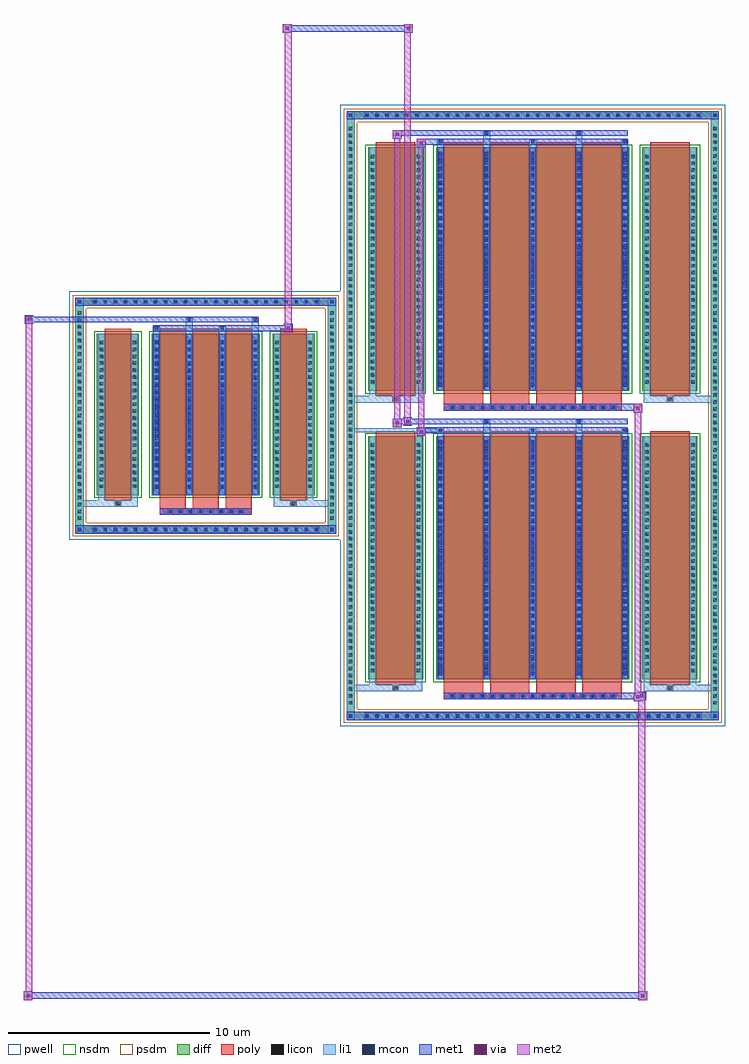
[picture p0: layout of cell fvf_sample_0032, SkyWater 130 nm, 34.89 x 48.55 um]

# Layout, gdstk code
import gdstk
lib = gdstk.Library(unit=1e-6, precision=1e-09)
def R(c, l, rs):  # rectangles x0, y0, x1, y1
    for r in rs: c.add(gdstk.rectangle(r[:2], r[2:], *l))
def A(c, l, x, y, w, h, nx, ny, dx, dy):  # array of equal rectangles
    R(c, l, [(x+i*dx, y+j*dy, x+i*dx+w, y+j*dy+h) for i in range(nx) for j in range(ny)])
def P(c, l, *ps):  # polygons
    for p in ps: c.add(gdstk.Polygon(p, *l))
pwell = (64, 44)
diff = (65, 20)
poly = (66, 20)
licon = (66, 44)
li1 = (67, 20)
mcon = (67, 44)
met1 = (68, 20)
via = (68, 44)
met2 = (69, 20)
nsdm = (93, 44)
psdm = (94, 20)

fvf_sample_0032 = lib.new_cell('fvf_sample_0032')
R(fvf_sample_0032, pwell, [(6.695,-15.456,25.837,15.456), (-6.795,-6.18,6.795,6.18)])
A(fvf_sample_0032, diff, 7.811, -15.146, 0.41, 0.41, 34, 2, 0.5, 29.882)
A(fvf_sample_0032, diff, 7.005, -14.485, 0.41, 0.41, 1, 85, 0, 0.34)
A(fvf_sample_0032, diff, 25.117, -14.485, 0.41, 0.41, 1, 85, 0, 0.34)
A(fvf_sample_0032, diff, -5.705, -5.87, 0.41, 0.41, 23, 2, 0.5, 11.33)
A(fvf_sample_0032, diff, -6.485, -5.305, 0.41, 0.41, 1, 31, 0, 0.34)
A(fvf_sample_0032, diff, 6.075, -5.305, 0.41, 0.41, 1, 31, 0, 0.34)
R(fvf_sample_0032, diff, [(7.811,-15.146,24.721,-14.736), (7.005,-14.485,7.415,14.485), (25.117,-14.485,25.527,14.485), (8.075,-13.125,10.817,-1.015), (11.457,-13.125,21.075,-1.015), (21.715,-13.125,24.457,-1.015), (-5.705,-5.87,5.705,-5.46), (-6.485,-5.305,-6.075,5.305), (6.075,-5.305,6.485,5.305), (-5.415,-3.948,-3.325,4.064), (-2.685,-3.948,2.685,4.064), (3.325,-3.948,5.415,4.064), (8.075,1.231,10.817,13.341), (11.457,1.231,21.075,13.341), (21.715,1.231,24.457,13.341), (-5.705,5.46,5.705,5.87), (7.811,14.736,24.721,15.146)])
P(fvf_sample_0032, diff, [(6.485,5.87),(-6.485,5.87),(-6.485,-5.46),(-6.075,-5.46),(-6.075,5.46),(6.075,5.46),(6.075,-5.46),(-6.075,-5.46),(-6.485,-5.46),(-6.485,-5.87),(6.485,-5.87)],
  [(25.527,15.146),(7.005,15.146),(7.005,-14.736),(7.415,-14.736),(7.415,14.736),(25.117,14.736),(25.117,-14.736),(7.415,-14.736),(7.005,-14.736),(7.005,-15.146),(25.527,-15.146)])
A(fvf_sample_0032, poly, 12.101, -14.106, 0.33, 0.33, 17, 2, 0.5, 14.356)
A(fvf_sample_0032, poly, 11.847, -13.776, 1.962, 0.401, 4, 2, 2.292, 14.356)
A(fvf_sample_0032, poly, 11.847, -13.375, 1.962, 12.61, 4, 2, 2.292, 14.356)
A(fvf_sample_0032, poly, -1.915, -4.93, 0.33, 0.33, 8, 1, 0.5, 0)
A(fvf_sample_0032, poly, -2.295, -4.6, 1.31, 0.402, 3, 1, 1.64, 0)
A(fvf_sample_0032, poly, -2.295, -4.198, 1.31, 8.512, 3, 1, 1.64, 0)
R(fvf_sample_0032, poly, [(11.847,-14.106,20.685,-13.776), (9.281,-13.705,9.611,-13.375), (9.281,-13.705,9.611,-13.375), (22.921,-13.705,23.251,-13.375), (22.921,-13.705,23.251,-13.375), (8.465,-13.375,10.427,-0.765), (22.105,-13.375,24.067,-0.765), (-2.295,-4.93,2.295,-4.6), (-4.535,-4.528,-4.205,-4.198), (-4.535,-4.528,-4.205,-4.198), (4.205,-4.528,4.535,-4.198), (4.205,-4.528,4.535,-4.198), (-5.025,-4.198,-3.715,4.314), (3.715,-4.198,5.025,4.314), (11.847,0.25,20.685,0.58), (9.281,0.651,9.611,0.981), (9.281,0.651,9.611,0.981), (22.921,0.651,23.251,0.981), (22.921,0.651,23.251,0.981), (8.465,0.981,10.427,13.591), (22.105,0.981,24.067,13.591)])
A(fvf_sample_0032, licon, 7.931, -15.026, 0.17, 0.17, 34, 2, 0.5, 29.882)
A(fvf_sample_0032, licon, 7.125, -14.365, 0.17, 0.17, 1, 85, 0, 0.34)
A(fvf_sample_0032, licon, 25.237, -14.365, 0.17, 0.17, 1, 85, 0, 0.34)
A(fvf_sample_0032, licon, 12.181, -14.026, 0.17, 0.17, 17, 2, 0.5, 14.356)
A(fvf_sample_0032, licon, 8.215, -12.765, 0.17, 0.17, 1, 34, 0, 0.34)
A(fvf_sample_0032, licon, 10.507, -12.765, 0.17, 0.17, 1, 34, 0, 0.34)
A(fvf_sample_0032, licon, 11.597, -12.765, 0.17, 0.17, 5, 34, 2.292, 0.34)
A(fvf_sample_0032, licon, 21.855, -12.765, 0.17, 0.17, 1, 34, 0, 0.34)
A(fvf_sample_0032, licon, 24.147, -12.765, 0.17, 0.17, 1, 34, 0, 0.34)
A(fvf_sample_0032, licon, -5.585, -5.75, 0.17, 0.17, 23, 2, 0.5, 11.33)
A(fvf_sample_0032, licon, -6.365, -5.185, 0.17, 0.17, 1, 31, 0, 0.34)
A(fvf_sample_0032, licon, 6.195, -5.185, 0.17, 0.17, 1, 31, 0, 0.34)
A(fvf_sample_0032, licon, -1.835, -4.85, 0.17, 0.17, 8, 1, 0.5, 0)
A(fvf_sample_0032, licon, -5.275, -3.597, 0.17, 0.17, 1, 22, 0, 0.34)
A(fvf_sample_0032, licon, -3.635, -3.597, 0.17, 0.17, 1, 22, 0, 0.34)
A(fvf_sample_0032, licon, -2.545, -3.597, 0.17, 0.17, 4, 22, 1.64, 0.34)
A(fvf_sample_0032, licon, 3.465, -3.597, 0.17, 0.17, 1, 22, 0, 0.34)
A(fvf_sample_0032, licon, 5.105, -3.597, 0.17, 0.17, 1, 22, 0, 0.34)
A(fvf_sample_0032, licon, 8.215, 1.591, 0.17, 0.17, 1, 34, 0, 0.34)
A(fvf_sample_0032, licon, 10.507, 1.591, 0.17, 0.17, 1, 34, 0, 0.34)
A(fvf_sample_0032, licon, 11.597, 1.591, 0.17, 0.17, 5, 34, 2.292, 0.34)
A(fvf_sample_0032, licon, 21.855, 1.591, 0.17, 0.17, 1, 34, 0, 0.34)
A(fvf_sample_0032, licon, 24.147, 1.591, 0.17, 0.17, 1, 34, 0, 0.34)
R(fvf_sample_0032, licon, [(9.361,-13.625,9.531,-13.455), (23.001,-13.625,23.171,-13.455), (-4.455,-4.448,-4.285,-4.278), (4.285,-4.448,4.455,-4.278), (9.361,0.731,9.531,0.901), (23.001,0.731,23.171,0.901)])
A(fvf_sample_0032, li1, 7.851, -15.106, 0.33, 0.33, 34, 2, 0.5, 29.882)
A(fvf_sample_0032, li1, 7.045, -14.445, 0.33, 0.33, 1, 85, 0, 0.34)
A(fvf_sample_0032, li1, 25.157, -14.445, 0.33, 0.33, 1, 85, 0, 0.34)
A(fvf_sample_0032, li1, 12.101, -14.106, 0.33, 0.33, 17, 2, 0.5, 14.356)
A(fvf_sample_0032, li1, 11.517, -13.125, 0.33, 12.11, 5, 2, 2.292, 14.356)
A(fvf_sample_0032, li1, 11.597, -12.915, 0.17, 0.17, 5, 33, 2.292, 0.36)
A(fvf_sample_0032, li1, 11.597, -12.915, 0.17, 11.69, 5, 2, 2.292, 14.356)
A(fvf_sample_0032, li1, 8.135, -12.845, 0.33, 0.33, 1, 34, 0, 0.34)
A(fvf_sample_0032, li1, 10.427, -12.845, 0.33, 0.33, 1, 34, 0, 0.34)
A(fvf_sample_0032, li1, 11.517, -12.845, 0.33, 0.33, 5, 34, 2.292, 0.34)
A(fvf_sample_0032, li1, 21.775, -12.845, 0.33, 0.33, 1, 34, 0, 0.34)
A(fvf_sample_0032, li1, 24.067, -12.845, 0.33, 0.33, 1, 34, 0, 0.34)
A(fvf_sample_0032, li1, -5.665, -5.83, 0.33, 0.33, 23, 2, 0.5, 11.33)
A(fvf_sample_0032, li1, -6.445, -5.265, 0.33, 0.33, 1, 31, 0, 0.34)
A(fvf_sample_0032, li1, 6.115, -5.265, 0.33, 0.33, 1, 31, 0, 0.34)
A(fvf_sample_0032, li1, -1.915, -4.93, 0.33, 0.33, 8, 1, 0.5, 0)
A(fvf_sample_0032, li1, -2.625, -3.948, 0.33, 8.012, 4, 1, 1.64, 0)
A(fvf_sample_0032, li1, -5.355, -3.677, 0.33, 0.33, 1, 22, 0, 0.34)
A(fvf_sample_0032, li1, -3.715, -3.677, 0.33, 0.33, 1, 22, 0, 0.34)
A(fvf_sample_0032, li1, -2.625, -3.677, 0.33, 0.33, 4, 22, 1.64, 0.34)
A(fvf_sample_0032, li1, 3.385, -3.677, 0.33, 0.33, 1, 22, 0, 0.34)
A(fvf_sample_0032, li1, 5.025, -3.677, 0.33, 0.33, 1, 22, 0, 0.34)
A(fvf_sample_0032, li1, -2.545, -3.627, 0.17, 0.17, 4, 21, 1.64, 0.36)
A(fvf_sample_0032, li1, -2.545, -3.627, 0.17, 7.37, 4, 1, 1.64, 0)
A(fvf_sample_0032, li1, 11.517, -1.015, 0.33, 0.375, 3, 2, 4.584, 14.356)
A(fvf_sample_0032, li1, 11.597, -0.81, 0.17, 0.17, 3, 2, 4.584, 14.356)
A(fvf_sample_0032, li1, 11.597, 1.441, 0.17, 0.17, 5, 33, 2.292, 0.36)
A(fvf_sample_0032, li1, 8.135, 1.511, 0.33, 0.33, 1, 34, 0, 0.34)
A(fvf_sample_0032, li1, 10.427, 1.511, 0.33, 0.33, 1, 34, 0, 0.34)
A(fvf_sample_0032, li1, 11.517, 1.511, 0.33, 0.33, 5, 34, 2.292, 0.34)
A(fvf_sample_0032, li1, 21.775, 1.511, 0.33, 0.33, 1, 34, 0, 0.34)
A(fvf_sample_0032, li1, 24.067, 1.511, 0.33, 0.33, 1, 34, 0, 0.34)
R(fvf_sample_0032, li1, [(7.005,-15.146,7.415,-14.736), (25.117,-15.146,25.527,-14.736), (7.851,-15.106,24.681,-14.776), (7.125,-15.026,7.295,-14.856), (7.125,-15.026,7.295,-14.856), (25.237,-15.026,25.407,-14.856), (25.237,-15.026,25.407,-14.856), (7.005,-14.736,7.415,14.736), (25.117,-14.736,25.527,14.736), (7.005,-13.705,9.281,-13.375), (8.135,-13.705,8.465,-13.125), (8.135,-13.705,9.281,-13.375), (9.281,-13.705,9.611,-13.375), (9.611,-13.705,10.757,-13.375), (10.427,-13.705,10.757,-13.125), (21.775,-13.705,22.105,-13.125), (21.775,-13.705,22.921,-13.375), (22.921,-13.705,23.251,-13.375), (22.921,-13.705,25.527,-13.375), (23.251,-13.705,24.397,-13.375), (24.067,-13.705,24.397,-13.125), (8.135,-13.125,8.465,-1.015), (10.427,-13.125,10.757,-1.015), (21.775,-13.125,22.105,-1.015), (24.067,-13.125,24.397,-1.015), (-6.485,-5.87,-6.075,-5.46), (6.075,-5.87,6.485,-5.46), (-5.665,-5.83,5.665,-5.5), (-6.365,-5.75,-6.195,-5.58), (-6.365,-5.75,-6.195,-5.58), (6.195,-5.75,6.365,-5.58), (6.195,-5.75,6.365,-5.58), (-6.485,-5.46,-6.075,5.46), (6.075,-5.46,6.485,5.46), (-6.485,-4.528,-4.535,-4.198), (-5.355,-4.528,-4.535,-4.198), (-5.355,-4.528,-5.025,-3.948), (-4.535,-4.528,-4.205,-4.198), (-4.205,-4.528,-3.385,-4.198), (-3.715,-4.528,-3.385,-3.948), (3.385,-4.528,4.205,-4.198), (3.385,-4.528,3.715,-3.948), (4.205,-4.528,4.535,-4.198), (4.205,-4.528,6.485,-4.198), (4.535,-4.528,5.355,-4.198), (5.025,-4.528,5.355,-3.948), (-5.355,-3.948,-5.025,4.064), (-3.715,-3.948,-3.385,4.064), (3.385,-3.948,3.715,4.064), (5.025,-3.948,5.355,4.064), (13.809,-1.015,14.139,-0.21), (18.393,-1.015,18.723,-0.21), (11.537,-0.87,11.827,-0.58), (7.005,-0.825,11.537,-0.625), (11.597,-0.81,11.767,-0.64), (13.889,-0.38,14.059,-0.21), (18.473,-0.38,18.643,-0.21), (7.005,0.651,9.281,0.981), (8.135,0.651,8.465,1.231), (8.135,0.651,9.281,0.981), (9.281,0.651,9.611,0.981), (9.611,0.651,10.757,0.981), (10.427,0.651,10.757,1.231), (21.775,0.651,22.105,1.231), (21.775,0.651,22.921,0.981), (22.921,0.651,23.251,0.981), (22.921,0.651,25.527,0.981), (23.251,0.651,24.397,0.981), (24.067,0.651,24.397,1.231), (8.135,1.231,8.465,13.341), (10.427,1.231,10.757,13.341), (21.775,1.231,22.105,13.341), (24.067,1.231,24.397,13.341), (-2.625,4.064,-2.295,4.439), (-0.985,4.064,-0.655,4.869), (0.655,4.064,0.985,4.439), (2.295,4.064,2.625,4.869), (-2.545,4.269,-2.375,4.439), (0.735,4.269,0.905,4.439), (-0.905,4.699,-0.735,4.869), (2.375,4.699,2.545,4.869), (-6.485,5.46,-6.075,5.87), (6.075,5.46,6.485,5.87), (-5.665,5.5,5.665,5.83), (-6.365,5.58,-6.195,5.75), (-6.365,5.58,-6.195,5.75), (6.195,5.58,6.365,5.75), (6.195,5.58,6.365,5.75), (13.809,13.341,14.139,14.146), (18.393,13.341,18.723,14.146), (13.889,13.976,14.059,14.146), (18.473,13.976,18.643,14.146), (7.005,14.736,7.415,15.146), (25.117,14.736,25.527,15.146), (7.851,14.776,24.681,15.106), (7.125,14.856,7.295,15.026), (7.125,14.856,7.295,15.026), (25.237,14.856,25.407,15.026), (25.237,14.856,25.407,15.026)])
A(fvf_sample_0032, mcon, 7.931, -15.026, 0.17, 0.17, 34, 2, 0.5, 29.882)
A(fvf_sample_0032, mcon, 12.181, -14.026, 0.17, 0.17, 17, 2, 0.5, 14.356)
A(fvf_sample_0032, mcon, 11.597, -12.915, 0.17, 0.17, 5, 33, 2.292, 0.36)
A(fvf_sample_0032, mcon, -5.585, -5.75, 0.17, 0.17, 23, 2, 0.5, 11.33)
A(fvf_sample_0032, mcon, -1.835, -4.85, 0.17, 0.17, 8, 1, 0.5, 0)
A(fvf_sample_0032, mcon, -2.545, -3.627, 0.17, 0.17, 4, 21, 1.64, 0.36)
A(fvf_sample_0032, mcon, 11.597, -0.81, 0.17, 0.17, 3, 2, 4.584, 14.356)
A(fvf_sample_0032, mcon, 11.597, 1.441, 0.17, 0.17, 5, 33, 2.292, 0.36)
R(fvf_sample_0032, mcon, [(7.125,-15.026,7.295,-14.856), (25.237,-15.026,25.407,-14.856), (-6.365,-5.75,-6.195,-5.58), (6.195,-5.75,6.365,-5.58), (11.597,-0.81,11.767,-0.64), (13.889,-0.38,14.059,-0.21), (18.473,-0.38,18.643,-0.21), (-2.545,4.269,-2.375,4.439), (0.735,4.269,0.905,4.439), (-0.905,4.699,-0.735,4.869), (2.375,4.699,2.545,4.869), (-6.365,5.58,-6.195,5.75), (6.195,5.58,6.365,5.75), (13.889,13.976,14.059,14.146), (18.473,13.976,18.643,14.146), (7.125,14.856,7.295,15.026), (25.237,14.856,25.407,15.026)])
A(fvf_sample_0032, met1, 7.871, -15.086, 0.29, 0.29, 34, 2, 0.5, 29.882)
A(fvf_sample_0032, met1, 12.121, -14.086, 0.29, 0.29, 17, 2, 0.5, 14.356)
A(fvf_sample_0032, met1, 11.537, -13.125, 0.29, 12.11, 5, 2, 2.292, 14.356)
A(fvf_sample_0032, met1, 11.537, -12.975, 0.29, 0.29, 5, 33, 2.292, 0.36)
A(fvf_sample_0032, met1, -5.645, -5.81, 0.29, 0.29, 23, 2, 0.5, 11.33)
A(fvf_sample_0032, met1, -1.895, -4.91, 0.29, 0.29, 8, 1, 0.5, 0)
A(fvf_sample_0032, met1, -2.605, -3.948, 0.29, 8.012, 4, 1, 1.64, 0)
A(fvf_sample_0032, met1, -2.605, -3.687, 0.29, 0.29, 4, 21, 1.64, 0.36)
A(fvf_sample_0032, met1, 11.537, -0.87, 0.29, 0.29, 3, 2, 4.584, 14.356)
A(fvf_sample_0032, met1, 11.537, 1.381, 0.29, 0.29, 5, 33, 2.292, 0.36)
R(fvf_sample_0032, met1, [(-9.05,-29.068,-8.62,-28.638), (21.52,-29.068,21.95,-28.638), (-9.05,-29.018,21.95,-28.688), (-9.05,-28.688,-8.62,-28.638), (21.52,-28.688,21.95,-28.638), (7.005,-15.146,7.415,-14.736), (7.005,-15.146,7.415,-14.736), (7.415,-15.146,25.117,-14.736), (25.117,-15.146,25.527,-14.736), (25.117,-15.146,25.527,-14.736), (7.065,-15.086,7.355,-14.796), (25.177,-15.086,25.467,-14.796), (21.285,-14.206,21.715,-13.776), (21.47,-14.156,21.9,-13.726), (11.847,-14.106,20.685,-13.776), (20.685,-14.106,21.47,-13.776), (20.685,-14.106,21.715,-13.776), (-6.485,-5.87,-6.075,-5.46), (-6.485,-5.87,-6.075,-5.46), (-6.075,-5.87,6.075,-5.46), (6.075,-5.87,6.485,-5.46), (6.075,-5.87,6.485,-5.46), (-6.425,-5.81,-6.135,-5.52), (6.135,-5.81,6.425,-5.52), (-2.295,-4.93,2.295,-4.6), (10.507,-1.01,10.937,-0.58), (10.507,-0.87,11.537,-0.58), (11.537,-0.87,11.827,-0.58), (11.537,-0.87,20.995,-0.58), (9.307,-0.58,9.737,-0.15), (9.822,-0.51,10.252,-0.08), (9.307,-0.44,11.537,-0.15), (10.252,-0.44,11.537,-0.15), (11.537,-0.44,20.995,-0.15), (13.829,-0.44,14.119,-0.15), (18.413,-0.44,18.703,-0.15), (21.285,0.15,21.715,0.58), (11.847,0.25,20.685,0.58), (20.685,0.25,21.715,0.58), (3.89,4.139,4.32,4.569), (-2.605,4.209,-2.315,4.499), (-2.605,4.209,2.605,4.499), (0.675,4.209,0.965,4.499), (2.605,4.209,3.89,4.499), (-9,4.569,-8.57,4.999), (-8.57,4.639,-2.605,4.929), (-2.605,4.639,2.605,4.929), (-0.965,4.639,-0.675,4.929), (2.315,4.639,2.605,4.929), (-6.485,5.46,-6.075,5.87), (-6.485,5.46,-6.075,5.87), (-6.075,5.46,6.075,5.87), (6.075,5.46,6.485,5.87), (6.075,5.46,6.485,5.87), (-6.425,5.52,-6.135,5.81), (6.135,5.52,6.425,5.81), (10.507,13.346,10.937,13.776), (10.507,13.486,11.537,13.776), (11.537,13.486,20.995,13.776), (9.307,13.776,9.737,14.206), (9.307,13.916,11.537,14.206), (11.537,13.916,20.995,14.206), (13.829,13.916,14.119,14.206), (18.413,13.916,18.703,14.206), (7.005,14.736,7.415,15.146), (7.005,14.736,7.415,15.146), (7.415,14.736,25.117,15.146), (25.117,14.736,25.527,15.146), (25.117,14.736,25.527,15.146), (7.065,14.796,7.355,15.086), (25.177,14.796,25.467,15.086), (3.84,19.051,4.27,19.481), (9.872,19.051,10.302,19.481), (3.84,19.101,10.302,19.431), (3.84,19.431,4.27,19.481), (9.872,19.431,10.302,19.481)])
R(fvf_sample_0032, via, [(-8.91,-28.928,-8.76,-28.778), (21.66,-28.928,21.81,-28.778), (21.425,-14.066,21.575,-13.916), (21.61,-14.016,21.76,-13.866), (10.647,-0.87,10.797,-0.72), (9.447,-0.44,9.597,-0.29), (9.962,-0.37,10.112,-0.22), (21.425,0.29,21.575,0.44), (4.03,4.279,4.18,4.429), (-8.86,4.709,-8.71,4.859), (10.647,13.486,10.797,13.636), (9.447,13.916,9.597,14.066), (3.98,19.191,4.13,19.341), (10.012,19.191,10.162,19.341)])
R(fvf_sample_0032, met2, [(-9.05,-29.068,-8.62,-28.638), (-8.95,-29.068,-8.62,4.619), (21.52,-29.068,21.95,-28.638), (21.52,-29.068,21.85,-14.106), (-9,-29.018,-8.67,-28.688), (21.57,-29.018,21.9,-28.688), (21.285,-14.206,21.715,-13.776), (21.335,-14.206,21.665,0.58), (21.665,-14.206,21.715,-13.776), (21.335,-14.156,21.665,-13.826), (21.52,-14.106,21.85,-13.776), (10.507,-1.01,10.937,-0.58), (10.577,-1.01,10.867,13.776), (10.867,-1.01,10.937,-0.58), (10.557,-0.96,10.887,-0.63), (9.307,-0.58,9.737,-0.15), (9.377,-0.58,9.667,14.206), (9.667,-0.58,9.737,-0.15), (9.357,-0.53,9.687,-0.2), (9.872,-0.46,10.202,-0.13), (9.872,-0.13,10.202,19.481), (21.285,0.15,21.715,0.58), (21.665,0.15,21.715,0.58), (21.335,0.2,21.665,0.53), (3.94,4.189,4.27,4.519), (3.94,4.519,4.27,19.481), (-8.95,4.619,-8.62,4.949), (10.507,13.346,10.937,13.776), (10.867,13.346,10.937,13.776), (10.557,13.396,10.887,13.726), (9.307,13.776,9.737,14.206), (9.667,13.776,9.737,14.206), (9.357,13.826,9.687,14.156), (3.84,19.051,4.27,19.481), (9.872,19.051,10.302,19.481), (3.89,19.101,4.22,19.431), (9.922,19.101,10.252,19.431)])
R(fvf_sample_0032, nsdm, [(7.945,-13.255,10.947,-0.885), (11.327,-13.255,21.205,-0.885), (21.585,-13.255,24.587,-0.885), (-5.545,-4.078,-3.195,4.194), (-2.815,-4.078,2.815,4.194), (3.195,-4.078,5.545,4.194), (7.945,1.101,10.947,13.471), (11.327,1.101,21.205,13.471), (21.585,1.101,24.587,13.471)])
P(fvf_sample_0032, psdm, [(6.615,6),(-6.615,6),(-6.615,-5.33),(-5.945,-5.33),(-5.945,5.33),(5.945,5.33),(5.945,-5.33),(-5.945,-5.33),(-6.615,-5.33),(-6.615,-6),(6.615,-6)],
  [(25.657,15.276),(6.875,15.276),(6.875,-14.606),(7.545,-14.606),(7.545,14.606),(24.987,14.606),(24.987,-14.606),(7.545,-14.606),(6.875,-14.606),(6.875,-15.276),(25.657,-15.276)])

lib.write_gds('fvf_sample_0032.gds')
